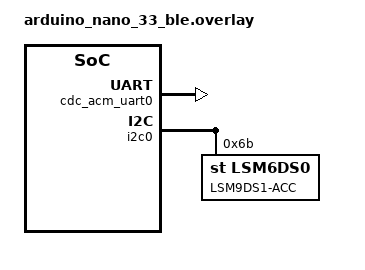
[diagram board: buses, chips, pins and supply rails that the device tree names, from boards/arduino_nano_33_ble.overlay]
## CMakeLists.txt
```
cmake_minimum_required(VERSION 3.20.0)

find_package(Zephyr REQUIRED HINTS $ENV{ZEPHYR_BASE})
project(Sigil)

# The project uses local static initialization. Since Zephyr doesn't support the
# C++ ABI for thread-safe initialization of local statics and the constructors don't
# appear to require thread safety, we turn it off in the C++ compiler.
set(NO_THREADSAFE_STATICS $<TARGET_PROPERTY:compiler-cpp,no_threadsafe_statics>)
zephyr_compile_options($<$<COMPILE_LANGUAGE:CXX>:${NO_THREADSAFE_STATICS}>)

# TODO: List all the sources
target_sources(app
    PRIVATE
        src/accelerometer_handler.cpp
        src/assert.cpp
        src/gesture_predictor.cpp
        src/magic_wand_model_data.cpp
        src/main.cpp
        src/main_functions.cpp
        src/output_handler.cpp
        src/accelerometer_handler.hpp
        src/constants.hpp
        src/gesture_predictor.hpp
        src/magic_wand_model_data.hpp
        src/main_functions.hpp
        src/output_handler.hpp
)
```

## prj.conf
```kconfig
CONFIG_CPLUSPLUS=y
CONFIG_LIB_CPLUSPLUS=y
CONFIG_NEWLIB_LIBC=y
CONFIG_NEWLIB_LIBC_FLOAT_PRINTF=y
CONFIG_FPU=y
CONFIG_SENSOR=y
CONFIG_MAIN_STACK_SIZE=4096
CONFIG_TENSORFLOW_LITE_MICRO=y
# CONFIG_SERIAL=y
# CONFIG_USB_DEVICE_STACK=y
# CONFIG_CONSOLE=y
# CONFIG_UART_CONSOLE=y
# CONFIG_UART_LINE_CTRL=y
# CONFIG_UART_INTERRUPT_DRIVEN=y
CONFIG_PRINTK=y
```

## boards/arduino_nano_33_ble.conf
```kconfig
CONFIG_I2C=y
CONFIG_LSM6DS0=y # Use the common driver lsm6ds0 for the lsm9ds1 accelerometer
CONFIG_LSM6DS0_GYRO_ENABLE_X_AXIS=n
CONFIG_LSM6DS0_GYRO_ENABLE_Y_AXIS=n
CONFIG_LSM6DS0_GYRO_ENABLE_Z_AXIS=n
CONFIG_LSM6DS0_ENABLE_TEMP=n
CONFIG_LSM6DS0_ACCEL_FULLSCALE=4
CONFIG_LSM6DS0_ACCEL_SAMPLING_RATE=50
```

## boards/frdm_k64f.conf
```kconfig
CONFIG_STDOUT_CONSOLE=y
CONFIG_LOG=y
CONFIG_I2C=y
# CONFIG_SENSOR=y
CONFIG_SENSOR_LOG_LEVEL_DBG=y
# CONFIG_CBPRINTF_FP_SUPPORT=y
CONFIG_FXOS8700_MODE_ACCEL=y
# CONFIG_FXOS8700_TRIGGER_OWN_THREAD=y
```

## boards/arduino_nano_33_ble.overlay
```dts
/ {
	chosen {
		zephyr,console = &cdc_acm_uart0;
	};
};

&zephyr_udc0 {
	cdc_acm_uart0: cdc_acm_uart0 {
		compatible = "zephyr,cdc-acm-uart";
	};
};

&i2c0 {
	lsm9ds1-acc@6b {
		compatible = "st,lsm6ds0";
		reg = <0x6b>;
		label = "LSM9DS1-ACC";
	};
};
```

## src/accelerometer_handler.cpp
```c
/*
 * Copyright 2019 The TensorFlow Authors. All Rights Reserved.
 *
 * Licensed under the Apache License, Version 2.0 (the "License");
 * you may not use this file except in compliance with the License.
 * You may obtain a copy of the License at
 *
 *     http://www.apache.org/licenses/LICENSE-2.0
 *
 * Unless required by applicable law or agreed to in writing, software
 * distributed under the License is distributed on an "AS IS" BASIS,
 * WITHOUT WARRANTIES OR CONDITIONS OF ANY KIND, either express or implied.
 * See the License for the specific language governing permissions and
 * limitations under the License.
 */

#include "accelerometer_handler.hpp"
#include "constants.hpp"
#include "cmath"

#include <zephyr/device.h>
#include <zephyr/drivers/sensor.h>
#include <stdio.h>
#include <string.h>
#include <zephyr/zephyr.h>

#define BUFLEN 300
#define st_lsm9ds1_acc st_lsm6ds0 // Driver for lsm9ds1 acc is compatible with lsm6ds0
#define sensor_acc nxp_fxos8700

int begin_index = 0;
const struct device *sensor = DEVICE_DT_GET_ONE(nxp_fxos8700);
int current_index = 0;

float bufx[BUFLEN] = { 0.0f };
float bufy[BUFLEN] = { 0.0f };
float bufz[BUFLEN] = { 0.0f };

bool initial = true;

// How often we should save a measurement during downsampling
int sample_every_n;

// The number of measurements since we last saved one
int sample_skip_counter = 0;

static int GetUpdateRate(tflite::ErrorReporter *error_reporter, int sampling_freq)
{
	int update_rate = sampling_freq;

	if (kTargetHz < sampling_freq)
	{
		update_rate = static_cast<int>(roundf(sampling_freq / kTargetHz));
	}
	else if (kTargetHz > sampling_freq)
	{
		TF_LITE_REPORT_ERROR(error_reporter, "Target sampling frequency is higher than the configured one!\n");
	}

	return update_rate;
}

TfLiteStatus SetupAccelerometer(tflite::ErrorReporter *error_reporter)
{
	if (!device_is_ready(sensor)) {
		printk("%s: device not ready.\n", sensor->name);
		return kTfLiteApplicationError;
	}

	if (sensor == NULL) {
		TF_LITE_REPORT_ERROR(error_reporter,
				     "Failed to get accelerometer, name: %s\n",
				     sensor->name);
	} else {
		TF_LITE_REPORT_ERROR(error_reporter, "Got accelerometer, name: %s\n",
				     sensor->name);
	}

	// struct sensor_value sampling_freq;

	struct sensor_value sampling_freq = {
		.val1 = 50,
		.val2 = 0,
	};

	if (sensor_attr_set(sensor, SENSOR_CHAN_ACCEL_XYZ, SENSOR_ATTR_SAMPLING_FREQUENCY, &sampling_freq)) {
		TF_LITE_REPORT_ERROR(error_reporter, "Could not set sampling frequency\n");
	}

	// if (sensor_attr_get(sensor, SENSOR_CHAN_ACCEL_XYZ, SENSOR_ATTR_SAMPLING_FREQUENCY, &sampling_freq) < 0)
	// {
	// 	TF_LITE_REPORT_ERROR(error_reporter, "Failed to get device's sampling frequency!\n");
	// }

	// TODO Debug
	printk("Sampling frequency is: %d\n", sampling_freq.val1);

	sample_every_n = GetUpdateRate(error_reporter, sampling_freq.val1);

	return kTfLiteOk;
}

bool ReadAccelerometer(tflite::ErrorReporter *error_reporter, float *input,
		       int length)
{
	int rc;
	struct sensor_value accel[3];
	int samples_count;

	rc = sensor_sample_fetch(sensor);
	if (rc < 0) {
		TF_LITE_REPORT_ERROR(error_reporter, "Fetch failed\n");
		return false;
	}
	/* Skip if there is no data */
	if (!rc) {
		return false;
	}

	samples_count = rc;

	for (int i = 0; i < samples_count; i++) {
		rc = sensor_channel_get(sensor, SENSOR_CHAN_ACCEL_XYZ, accel);

		if (rc < 0) {
			TF_LITE_REPORT_ERROR(error_reporter, "ERROR: Update failed: %d\n", rc);
			return false;
		}

		sample_skip_counter++;

		if (sample_skip_counter != sample_every_n)
		{
			continue;
		}

		const int model_x = 2; // z
		const int model_y = 1; // y
		const int model_z = 0; // x

		bufx[begin_index] = (float)sensor_value_to_double(&accel[model_x]);
		bufy[begin_index] = (float)sensor_value_to_double(&accel[model_y]);
		bufz[begin_index] = (float)sensor_value_to_double(&accel[model_z]);

		begin_index++;

		sample_skip_counter = 0; // Reset counter as we took the sample

		if (begin_index >= BUFLEN) {
			begin_index = 0;
		}
	}

	if (initial && begin_index >= 100) {
		initial = false;
	}

	if (initial) {
		return false;
	}

	int sample = 0;

	for (int i = 0; i <= (length - 3); i += 3) {
		int ring_index = begin_index + sample - length / 3;

		if (ring_index < 0) {
			ring_index += BUFLEN;
		}

		input[i] = bufx[ring_index];
		input[i + 1] = bufy[ring_index];
		input[i + 2] = bufz[ring_index];
		sample++;
	}

	return true;
}
```

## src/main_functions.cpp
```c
/*
 * Copyright 2019 The TensorFlow Authors. All Rights Reserved.
 *
 * Licensed under the Apache License, Version 2.0 (the "License");
 * you may not use this file except in compliance with the License.
 * You may obtain a copy of the License at
 *
 *     http://www.apache.org/licenses/LICENSE-2.0
 *
 * Unless required by applicable law or agreed to in writing, software
 * distributed under the License is distributed on an "AS IS" BASIS,
 * WITHOUT WARRANTIES OR CONDITIONS OF ANY KIND, either express or implied.
 * See the License for the specific language governing permissions and
 * limitations under the License.
 */

#include "main_functions.hpp"

#include "accelerometer_handler.hpp"
#include "constants.hpp"
#include "gesture_predictor.hpp"
#include "magic_wand_model_data.hpp"
#include "output_handler.hpp"
#include <tensorflow/lite/micro/micro_error_reporter.h>
#include <tensorflow/lite/micro/micro_interpreter.h>
#include <tensorflow/lite/micro/micro_mutable_op_resolver.h>
#include <tensorflow/lite/schema/schema_generated.h>

/* Globals, used for compatibility with Arduino-style sketches. */
namespace {
	tflite::ErrorReporter *error_reporter = nullptr;
	const tflite::Model *model = nullptr;
	tflite::MicroInterpreter *interpreter = nullptr;
	TfLiteTensor *model_input = nullptr;
	int input_length;

	/* Create an area of memory to use for input, output, and intermediate arrays.
	* The size of this will depend on the model you're using, and may need to be
	* determined by experimentation.
	*/
	constexpr int kTensorArenaSize = 60 * 1024;
	uint8_t tensor_arena[kTensorArenaSize];
} /* namespace */

/* The name of this function is important for Arduino compatibility. */
void setup(void)
{
	// SetupOutput();

	/* Set up logging. Google style is to avoid globals or statics because of
	 * lifetime uncertainty, but since this has a trivial destructor it's okay.
	 */
	static tflite::MicroErrorReporter micro_error_reporter; /* NOLINT */

	error_reporter = &micro_error_reporter;

	/* Map the model into a usable data structure. This doesn't involve any
	 * copying or parsing, it's a very lightweight operation.
	 */
	model = tflite::GetModel(g_magic_wand_model_data);
	if (model->version() != TFLITE_SCHEMA_VERSION) {
		TF_LITE_REPORT_ERROR(error_reporter,
				     "Model provided is schema version %d not equal "
				     "to supported version %d.",
				     model->version(), TFLITE_SCHEMA_VERSION);
		return;
	}

	/* Pull in only the operation implementations we need.
	 * This relies on a complete list of all the ops needed by this graph.
	 * An easier approach is to just use the AllOpsResolver, but this will
	 * incur some penalty in code space for op implementations that are not
	 * needed by this graph.
	 */
	static tflite::MicroMutableOpResolver < 5 > micro_op_resolver; /* NOLINT */
	micro_op_resolver.AddConv2D();
	micro_op_resolver.AddDepthwiseConv2D();
	micro_op_resolver.AddFullyConnected();
	micro_op_resolver.AddMaxPool2D();
	micro_op_resolver.AddSoftmax();

	/* Build an interpreter to run the model with. */
	static tflite::MicroInterpreter static_interpreter(
		model, micro_op_resolver, tensor_arena, kTensorArenaSize, error_reporter);
	interpreter = &static_interpreter;

	/* Allocate memory from the tensor_arena for the model's tensors. */
	interpreter->AllocateTensors();

	/* Obtain pointer to the model's input tensor. */
	model_input = interpreter->input(0);
	if ((model_input->dims->size != 4) || (model_input->dims->data[0] != 1) ||
	    (model_input->dims->data[1] != 128) ||
	    (model_input->dims->data[2] != kChannelNumber) ||
	    (model_input->type != kTfLiteFloat32)) {
		TF_LITE_REPORT_ERROR(error_reporter,
				     "Bad input tensor parameters in model");
		return;
	}

	input_length = model_input->bytes / sizeof(float);

	TfLiteStatus setup_status = SetupAccelerometer(error_reporter);
	if (setup_status != kTfLiteOk) {
		TF_LITE_REPORT_ERROR(error_reporter, "Set up failed\n");
	}
}

void loop(void)
{
	/* Attempt to read new data from the accelerometer. */
	bool got_data =
		ReadAccelerometer(error_reporter, model_input->data.f, input_length);

	/* If there was no new data, wait until next time. */
	if (!got_data) {
		return;
	}

	/* Run inference, and report any error */
	TfLiteStatus invoke_status = interpreter->Invoke();
	if (invoke_status != kTfLiteOk) {
		TF_LITE_REPORT_ERROR(error_reporter, "Invoke failed on index: %d\n",
				     begin_index);
		return;
	}
	/* Analyze the results to obtain a prediction */
	int gesture_index = PredictGesture(interpreter->output(0)->data.f);

	/* Produce an output */
	HandleOutput(error_reporter, gesture_index);
}
```

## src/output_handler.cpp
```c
/*
 * Copyright 2019 The TensorFlow Authors. All Rights Reserved.
 *
 * Licensed under the Apache License, Version 2.0 (the "License");
 * you may not use this file except in compliance with the License.
 * You may obtain a copy of the License at
 *
 *     http://www.apache.org/licenses/LICENSE-2.0
 *
 * Unless required by applicable law or agreed to in writing, software
 * distributed under the License is distributed on an "AS IS" BASIS,
 * WITHOUT WARRANTIES OR CONDITIONS OF ANY KIND, either express or implied.
 * See the License for the specific language governing permissions and
 * limitations under the License.
 */

#include "output_handler.hpp"
#include <zephyr/zephyr.h>
#include <zephyr/sys/printk.h>
#include <zephyr/usb/usb_device.h>
#include <zephyr/drivers/uart.h>

// BUILD_ASSERT(DT_NODE_HAS_COMPAT(DT_CHOSEN(zephyr_console), zephyr_cdc_acm_uart),
// 	     "Console device is not ACM CDC UART device");

// void SetupOutput()
// {
// 	const struct device *dev_console = DEVICE_DT_GET(DT_CHOSEN(zephyr_console));
// 	uint32_t dtr = 0;

// 	if (usb_enable(NULL)) {
// 		printk("Serial output not initialized!\n");
// 		return;
// 	}

// 	/* Poll if the DTR flag was set */
// 	while (!dtr) {
// 		uart_line_ctrl_get(dev_console, UART_LINE_CTRL_DTR, &dtr);
// 		/* Give CPU resources to low priority threads. */
// 		k_sleep(K_MSEC(100));
// 	}

// 	printk("Serial output initialized!\n");
// }

void HandleOutput(tflite::ErrorReporter *error_reporter, int kind)
{
	/* light (red: wing, blue: ring, green: slope) */
	if (kind == 0) {
		TF_LITE_REPORT_ERROR(
			error_reporter,
			"WING:\n\r*         *         *\n\r *       * *       "
			"*\n\r  *     *   *     *\n\r   *   *     *   *\n\r    * *       "
			"* *\n\r     *         *\n\r");
	} else if (kind == 1) {
		TF_LITE_REPORT_ERROR(
			error_reporter,
			"RING:\n\r          *\n\r       *     *\n\r     *         *\n\r "
			"   *           *\n\r     *         *\n\r       *     *\n\r      "
			"    *\n\r");
	} else if (kind == 2) {
		TF_LITE_REPORT_ERROR(
			error_reporter,
			"SLOPE:\n\r        *\n\r       *\n\r      *\n\r     *\n\r    "
			"*\n\r   *\n\r  *\n\r * * * * * * * *\n\r");
	}
}
```

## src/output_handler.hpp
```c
/*
 * Copyright 2019 The TensorFlow Authors. All Rights Reserved.
 *
 * Licensed under the Apache License, Version 2.0 (the "License");
 * you may not use this file except in compliance with the License.
 * You may obtain a copy of the License at
 *
 *     http://www.apache.org/licenses/LICENSE-2.0
 *
 * Unless required by applicable law or agreed to in writing, software
 * distributed under the License is distributed on an "AS IS" BASIS,
 * WITHOUT WARRANTIES OR CONDITIONS OF ANY KIND, either express or implied.
 * See the License for the specific language governing permissions and
 * limitations under the License.
 */

#ifndef TENSORFLOW_LITE_MICRO_EXAMPLES_MAGIC_WAND_OUTPUT_HANDLER_H_
#define TENSORFLOW_LITE_MICRO_EXAMPLES_MAGIC_WAND_OUTPUT_HANDLER_H_

#include <tensorflow/lite/c/common.h>
#include <tensorflow/lite/micro/micro_error_reporter.h>

// void SetupOutput();
void HandleOutput(tflite::ErrorReporter *error_reporter, int kind);

#endif /* TENSORFLOW_LITE_MICRO_EXAMPLES_MAGIC_WAND_OUTPUT_HANDLER_H_ */
```
